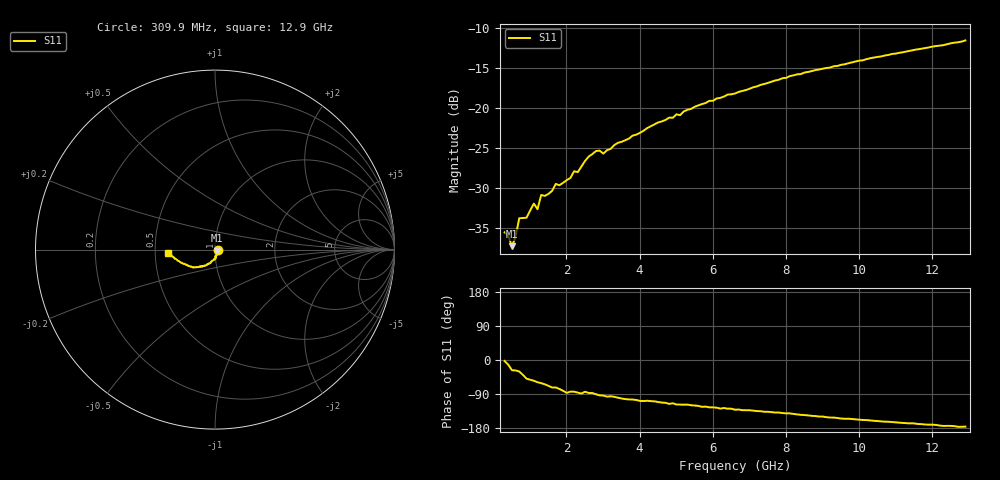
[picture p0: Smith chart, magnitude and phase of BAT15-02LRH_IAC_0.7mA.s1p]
! Infineon Technologies  Discrete & RF Semiconductors
! BAT15-02LRH
! IAC = 0.7 mA
! One-Port S-Parameters
# Hz  S  MA  R  50
!f  S11
!Hz  Mag  Ang
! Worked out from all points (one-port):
!   127 points, 309.9 MHz to 12.9 GHz, reference 50 ohm
!   lowest |S11| = -37.3 dB at 509.8 MHz (marker M1), VSWR 1.03, Z = 51.2 - j0.638 ohm
!   |S11| at or under -10 dB: start of sweep to end of sweep
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3.0985e8  0.01674 -2.5
4.098e8  0.01594 -12.5
5.0975e8  0.01371 -27.0
6.097e8  0.01567 -27.5
7.0965e8  0.02048 -30.3
9.0955e8  0.02065 -49.2
1.10945e9  0.02528 -54.9
1.2094e9  0.02332 -58.7
1.30935e9  0.02863 -61.0
1.4093e9  0.02824 -64.2
1.6092e9  0.0304 -72.5
1.70915e9  0.03358 -72.5
1.90905e9  0.03411 -81.3
2.10895e9  0.03657 -83.5
2.2089e9  0.04025 -83.6
2.30885e9  0.03977 -86.0
2.6087e9  0.04975 -86.9
2.8086e9  0.05384 -90.5
3.0085e9  0.05185 -93.8
3.50825e9  0.06149 -101.5
4.50775e9  0.08117 -110.9
5.10745e9  0.09014 -117.7
5.90705e9  0.1108 -125.0
6.6067e9  0.123 -131.2
8.2059e9  0.1598 -142.3
9.8051e9  0.1925 -155.7
1.14043e10  0.2278 -167.3
1.290355e10  0.2639 -175.8
